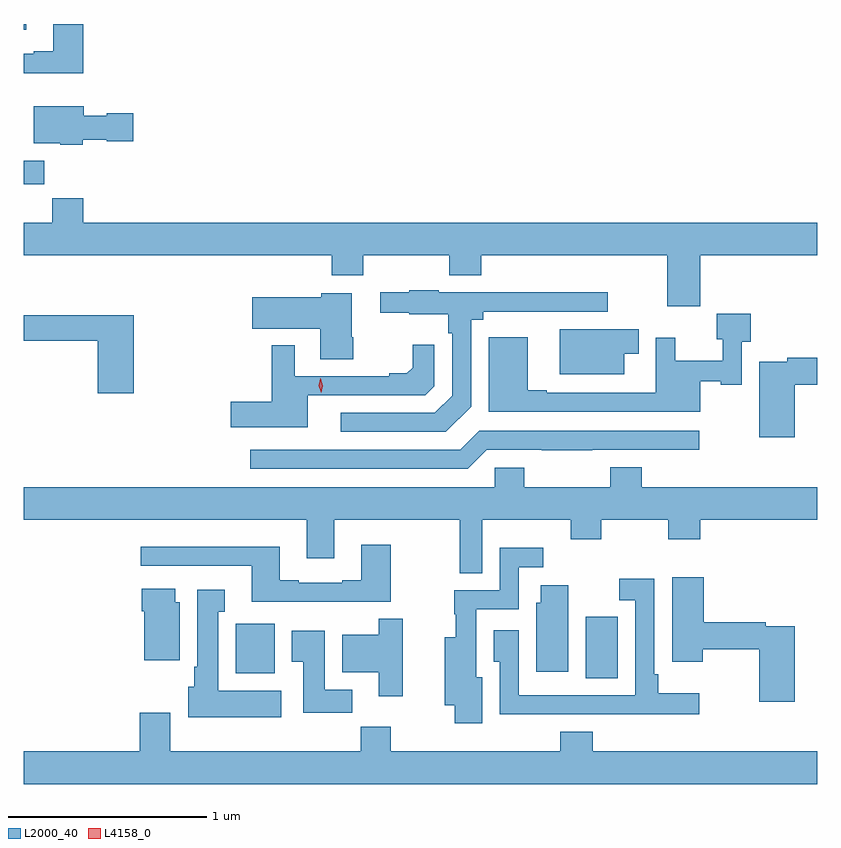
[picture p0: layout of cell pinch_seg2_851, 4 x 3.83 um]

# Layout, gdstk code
import gdstk
lib = gdstk.Library(unit=1e-6, precision=1e-09)
def R(c, l, rs):  # rectangles x0, y0, x1, y1
    for r in rs: c.add(gdstk.rectangle(r[:2], r[2:], *l))
def P(c, l, *ps):  # polygons
    for p in ps: c.add(gdstk.Polygon(p, *l))
L2000_40 = (2000, 40)
L4158_0 = (4158, 0)

pinch_seg2_851 = lib.new_cell('pinch_seg2_851')
R(pinch_seg2_851, L2000_40, [(529.43,604.213,529.591,604.524), (527.667,604.238,527.863,604.488), (526.597,606.702,526.7,606.82), (526.597,607.482,526.609,607.51)])
P(pinch_seg2_851, L2000_40, [(526.898,607.51),(526.745,607.51),(526.745,607.372),(526.649,607.372),(526.649,607.359),(526.597,607.359),(526.597,607.263),(526.653,607.263),(526.653,607.262),(526.898,607.262)],
  [(526.896,606.926),(527.016,606.926),(527.016,606.919),(527.149,606.919),(527.149,607.061),(527.016,607.061),(527.016,607.048),(526.9,607.048),(526.9,607.096),(526.649,607.096),(526.649,606.908),(526.782,606.908),(526.782,606.902),(526.896,606.902)],
  [(530.006,606.344),(530.597,606.344),(530.597,606.508),(526.898,606.508),(526.898,606.632),(526.741,606.632),(526.741,606.508),(526.597,606.508),(526.597,606.344),(528.149,606.344),(528.149,606.245),(528.309,606.245),(528.309,606.344),(528.742,606.344),(528.742,606.245),(528.902,606.245),(528.902,606.344),(529.841,606.344),(529.841,606.087),(530.006,606.087)],
  [(528.852,605.582),(528.852,606.02),(528.912,606.02),(528.912,606.06),(529.54,606.06),(529.54,606.158),(528.69,606.158),(528.69,606.169),(528.54,606.169),(528.54,606.158),(528.393,606.158),(528.393,606.055),(528.54,606.055),(528.54,606.047),(528.736,606.047),(528.736,605.951),(528.756,605.951),(528.756,605.637),(528.669,605.55),(528.195,605.55),(528.195,605.454),(528.724,605.454)],
  [(528.258,605.932),(528.25,605.932),(528.25,606.154),(528.096,606.154),(528.096,606.133),(527.748,606.133),(527.748,605.975),(528.092,605.975),(528.092,605.821),(528.258,605.821)],
  [(530.008,605.71),(530.109,605.71),(530.109,605.692),(530.217,605.692),(530.217,605.909),(530.261,605.909),(530.261,606.051),(530.09,606.051),(530.09,605.921),(530.119,605.921),(530.119,605.813),(529.88,605.813),(529.88,605.929),(529.782,605.929),(529.782,605.652),(529.234,605.652),(529.234,605.665),(529.138,605.665),(529.138,605.932),(528.941,605.932),(528.941,605.556),(530.008,605.556)],
  [(527.153,606.043),(526.597,606.043),(526.597,605.914),(526.97,605.914),(526.97,605.649),(527.153,605.649)],
  [(529.624,605.849),(529.697,605.849),(529.697,605.971),(529.298,605.971),(529.298,605.744),(529.624,605.744)],
  [(528.028,605.64),(528.621,605.64),(528.666,605.685),(528.666,605.893),(528.558,605.893),(528.558,605.778),(528.528,605.749),(528.44,605.749),(528.44,605.736),(527.964,605.736),(527.964,605.89),(527.848,605.89),(527.848,605.607),(527.64,605.607),(527.64,605.477),(528.028,605.477)],
  [(530.483,605.692),(530.597,605.692),(530.597,605.828),(530.446,605.828),(530.446,605.808),(530.305,605.808),(530.305,605.427),(530.483,605.427)],
  [(528.93,605.364),(529.207,605.364),(529.207,605.363),(529.463,605.363),(529.463,605.364),(530.002,605.364),(530.002,605.46),(528.893,605.46),(528.797,605.364),(527.739,605.364),(527.739,605.268),(528.834,605.268)],
  [(528.907,605.012),(529.354,605.012),(529.354,604.913),(529.509,604.913),(529.509,605.012),(529.846,605.012),(529.846,604.913),(530.006,604.913),(530.006,605.012),(530.597,605.012),(530.597,605.176),(529.712,605.176),(529.712,605.275),(529.552,605.275),(529.552,605.176),(529.119,605.176),(529.119,605.274),(528.972,605.274),(528.972,605.176),(526.597,605.176),(526.597,605.012),(528.023,605.012),(528.023,604.818),(528.163,604.818),(528.163,605.012),(528.796,605.012),(528.796,604.741),(528.907,604.741)],
  [(528.335,604.599),(528.447,604.599),(528.447,604.885),(528.299,604.885),(528.299,604.708),(528.203,604.708),(528.203,604.695),(527.983,604.695),(527.983,604.708),(527.887,604.708),(527.887,604.876),(527.187,604.876),(527.187,604.779),(527.747,604.779),(527.747,604.598),(528.335,604.598)],
  [(528.907,604.219),(528.877,604.219),(528.877,604.56),(529.092,604.56),(529.092,604.773),(529.216,604.773),(529.216,604.87),(528.996,604.87),(528.996,604.656),(528.766,604.656),(528.766,604.535),(528.774,604.535),(528.774,604.42),(528.719,604.42),(528.719,604.076),(528.769,604.076),(528.769,603.987),(528.907,603.987)],
  [(530.483,604.476),(530.336,604.476),(530.336,604.496),(530.024,604.496),(530.024,604.723),(529.865,604.723),(529.865,604.296),(530.019,604.296),(530.019,604.36),(530.305,604.36),(530.305,604.095),(530.483,604.095)],
  [(529.217,604.032),(529.583,604.032),(529.583,604.031),(530.002,604.031),(530.002,604.138),(529.796,604.138),(529.796,604.234),(529.776,604.234),(529.776,604.714),(529.599,604.714),(529.599,604.605),(529.68,604.605),(529.68,604.128),(529.092,604.128),(529.092,604.456),(528.965,604.456),(528.965,604.297),(528.996,604.297),(528.996,604.031),(529.217,604.031)],
  [(529.342,604.681),(529.202,604.681),(529.202,604.593),(529.181,604.593),(529.181,604.245),(529.342,604.245)],
  [(527.383,604.596),(527.362,604.596),(527.362,604.663),(527.192,604.663),(527.192,604.55),(527.204,604.55),(527.204,604.304),(527.383,604.304)],
  [(527.896,604.15),(527.578,604.15),(527.578,604.547),(527.611,604.547),(527.611,604.66),(527.471,604.66),(527.471,604.27),(527.456,604.27),(527.456,604.17),(527.426,604.17),(527.426,604.016),(527.896,604.016)],
  [(528.508,604.514),(528.386,604.514),(528.386,604.432),(528.203,604.432),(528.203,604.244),(528.386,604.244),(528.386,604.122),(528.508,604.122)],
  [(528.254,604.156),(528.115,604.156),(528.115,604.453),(527.948,604.453),(527.948,604.297),(528.005,604.297),(528.005,604.038),(528.254,604.038)],
  [(530.597,603.844),(529.466,603.844),(529.466,603.943),(529.301,603.943),(529.301,603.844),(528.447,603.844),(528.447,603.968),(528.295,603.968),(528.295,603.844),(527.335,603.844),(527.335,604.039),(527.183,604.039),(527.183,603.844),(526.597,603.844),(526.597,603.68),(530.597,603.68)])
P(pinch_seg2_851, L4158_0, [(528.096,605.651),(528.096,605.651),(528.085,605.687),(528.093,605.723),(528.093,605.724),(528.094,605.723),(528.105,605.688),(528.096,605.651)])

lib.write_gds('pinch_seg2_851.gds')
